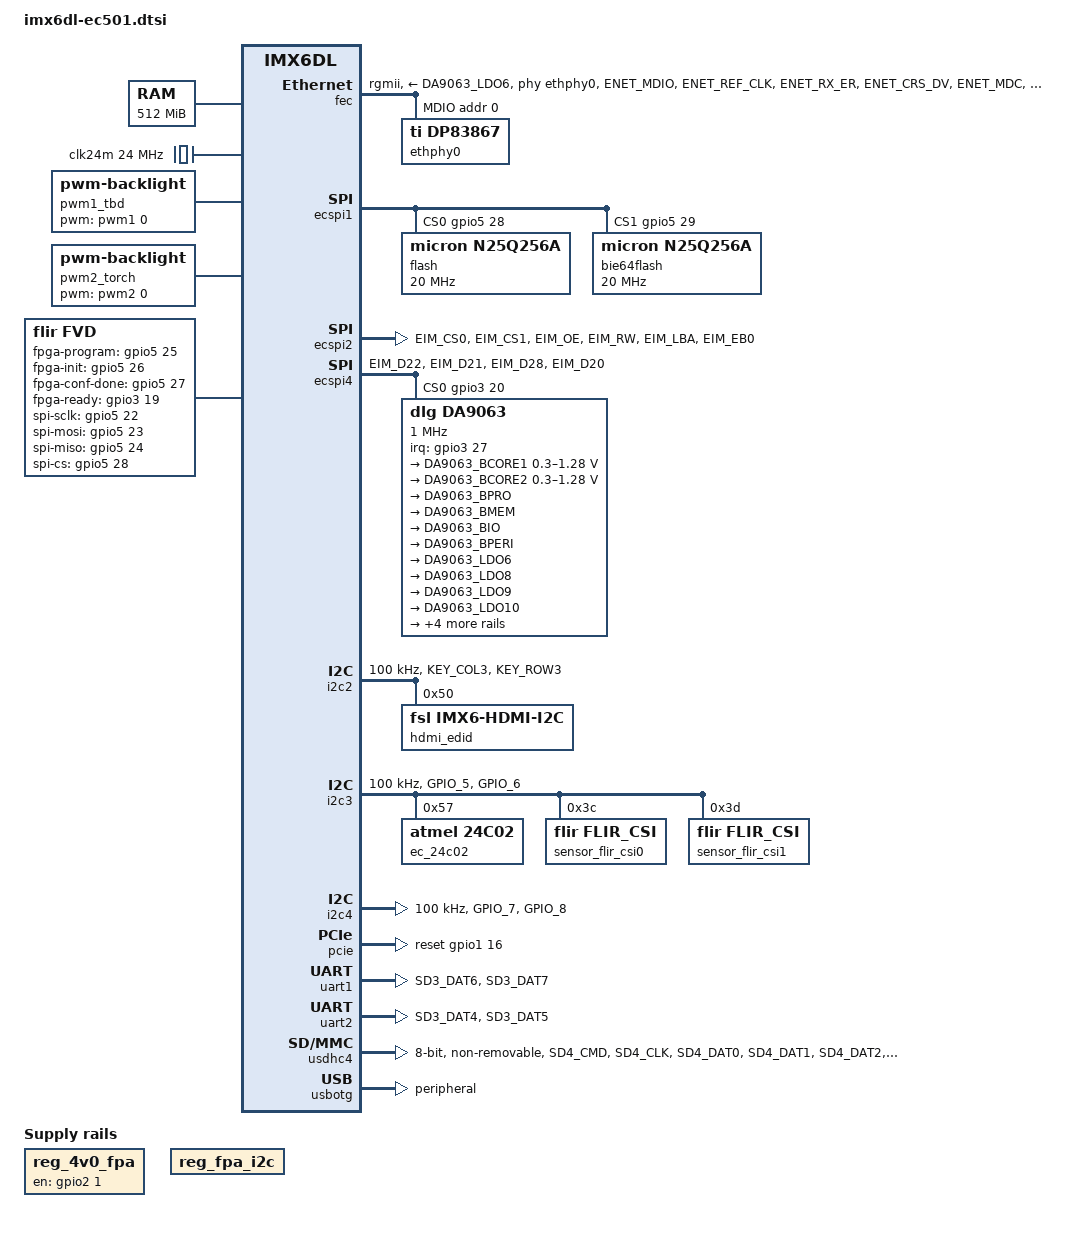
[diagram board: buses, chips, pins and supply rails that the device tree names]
/*
 * Copyright 2017 FLIR Systems.
 *
 * The code contained herein is licensed under the GNU General Public
 * License. You may obtain a copy of the GNU General Public License
 * Version 2 or later at the following locations:
 *
 * http://www.opensource.org/licenses/gpl-license.html
 * http://www.gnu.org/copyleft/gpl.html
 */

/*This file represents ec501-PA9 and later */
#include <dt-bindings/gpio/gpio.h>
#include <dt-bindings/net/ti-dp83867.h>

/ {
	aliases {
		mxcfb0 = &mxcfb1;
		mxcfb1 = &mxcfb2;
		i2c3 = &i2c4;

		/* FLIR - overwrite imx6qdl standard. Compatible with ROCO  */
		mmc0 = &usdhc4;
		mmc1 = &usdhc1;
		mmc2 = &usdhc2;
		mmc3 = &usdhc3;

		ethernet0 = &fec;
	};

	memory {
		reg = <0x10000000 0x20000000>;
	};

	clocks {
		clk24m: clk24m {
			compatible = "fixed-clock";
			#clock-cells = <0>;
			clock-frequency = <24000000>;
		};
	};

	regulators {
		compatible = "simple-bus";

		reg_4v0_fpa: reg_4v0_fpa {
			compatible = "regulator-fixed";
			regulator-name = "4V0_fpa";
			gpio = <&gpio2 1 0>;
			enable-active-high;
		};

		/*Removed on ec101-d but required by fvdk*/
		reg_fpa_i2c: reg_fpa_i2c {
			compatible = "regulator-fixed";
			regulator-name = "fpa_i2c";
			enable-active-high;
		};
	};

	fad {
		compatible = "flir,fad";
	};

	boards{
		mainboard{
			article = <0>;
			rev = <0>;
		};
	};

	u-boot{
		version = "Unkown";
		reset-cause = "Unkown";
	};

	mxcfb1: fb@0 {
		compatible = "fsl,mxc_sdc_fb";
		disp_dev = "hdmi";
		interface_pix_fmt = "RGB24";
		mode_str ="640x480M@60";
		default_bpp = <32>;
		int_clk = <0>;
		late_init = <0>;
		status = "okay";
	};

	mxcfb2: fb@1 {
		compatible = "fsl,mxc_sdc_fb";
		disp_dev = "fake";
		interface_pix_fmt = "RGB24";
		mode_str ="640x480M@60";
		default_bpp = <32>;
		int_clk = <0>;
		late_init = <0>;
		status = "okay";
	};

	pwm1_tbd {
		compatible = "pwm-backlight";
		pwms = <&pwm1 0 200000>; //0.2ms
		brightness-levels = <0 10 20 30 40 50 60 70 80 90 100>;
		pinctrl-names = "default";
		pinctrl-0 = <&pinctrl_pwm1>;
		default-brightness-level = <0>;
	};

	pwm2_torch {
		compatible = "pwm-backlight";
		pwms = <&pwm2 0 200000>; //0.2ms
		brightness-levels = <0 10 20 30 40 50 60 70 80 90 100>;
		pinctrl-names = "default";
		pinctrl-0 = <&pinctrl_pwm2>;
		default-brightness-level = <0>;
	};

	v4l2_cap_0 {
		compatible = "fsl,imx6q-v4l2-capture";
		ipu_id = <0>;
		csi_id = <0>;
		videoflow_method = <1>;
		mclk_source = <0>;
		status = "okay";
	};

	v4l2_cap_1 {
		compatible = "fsl,imx6q-v4l2-capture";
		ipu_id = <0>;
		csi_id = <1>;
		videoflow_method = <1>;
		mclk_source = <0>;
		status = "okay";
	};

	v4l2_out {
		compatible = "fsl,mxc_v4l2_output";
		status = "okay";
	};

	fvd {
		compatible = "flir,fvd";
		pinctrl-names = "default", "spi-default","spi-idle";
		pinctrl-0 = <&pinctrl_fvd>;
		pinctrl-1 = <&pinctrl_ecspi1>;
		pinctrl-2 = <&pinctrl_ecspi1_idle>;
		fpga-program-gpio	= <&gpio5 25 GPIO_ACTIVE_HIGH>;
		fpga-init-gpio		= <&gpio5 26 GPIO_ACTIVE_HIGH>;
		fpga-conf-done-gpio 	= <&gpio5 27 GPIO_ACTIVE_HIGH>;
		fpga-ready-gpio		= <&gpio3 19 GPIO_ACTIVE_HIGH>;
		spi-sclk-gpio		= <&gpio5 22 GPIO_ACTIVE_HIGH>;
		spi-mosi-gpio		= <&gpio5 23 GPIO_ACTIVE_HIGH>;
		spi-miso-gpio		= <&gpio5 24 GPIO_ACTIVE_HIGH>;
		spi-cs-gpio		= <&gpio5 28 GPIO_ACTIVE_HIGH>;
	};

	fake {
		compatible = "fsl,imx6q-fake";
		display = <&fakedisp>;
		ipu_id = <0>;
		disp_id = <2>;
		status = "okay";
	};
	
	fakedisp: fake-vga {
		display-timings {
			timing {
				clock-frequency = <40000000>;
				hactive = <640>;
				vactive = <480>;
				hfront-porch = <40>;
				hback-porch = <88>;
				hsync-len = <128>;
				vback-porch = <23>;
				vfront-porch = <1>;
				vsync-len = <40>;
			};
		};
	};
};


&fec {
	pinctrl-names = "default";
	pinctrl-0 = <&pinctrl_enet>;
	phy-mode = "rgmii";
	phy-reset-gpios = <&gpio1 25 GPIO_ACTIVE_LOW>;
	phy-supply = <&DA9063_LDO6>;
	phy-handle = <&ethphy0>;
	status = "okay";

	mdio {
		#address-cells = <1>;
		#size-cells = <0>;

		ethphy0: ethernet-phy@0 {
			status = "ok";
			reg = <0>;
			compatible = "ti,dp83867","ethernet-phy-ieee802.3-c22";
//?			interrupt-parent = <&gpio1>;
//?			interrupts = <24 IRQ_TYPE_LEVEL_LOW>;
			ti,rx-internal-delay = <DP83867_RGMIIDCTL_2_25_NS>;
			ti,tx-internal-delay = <DP83867_RGMIIDCTL_2_75_NS>;
			ti,fifo-depth = <DP83867_PHYCR_FIFO_DEPTH_4_B_NIB>;
//?opt			ti,min-output-impedance;
//?opt			ti,max-output-impedance;
		};
	};
};

/* Serial flash SPI */
&ecspi1 {
	status = "okay";
	fsl,spi-num-chipselects = <2>;
	cs-gpios = <&gpio5 28 0>, <&gpio5 29 0>;

	/* FPGA program flash */
	flash: m25p80@0 {
		compatible = "micron,n25q256a";
		spi-max-frequency = <20000000>;
		reg = <0>;
	};

	/* Detector flash */
	bie64flash: bie64flash@1 {
		compatible = "micron,n25q256a";
		spi-max-frequency = <20000000>;
		reg = <1>;
	};
};

/* IO board SPI */
&ecspi2 {
	pinctrl-names = "default";
	pinctrl-0 = <&pinctrl_ecspi2>;
	status = "okay";
	fsl,spi-num-chipselects = <3>;
	cs-gpios = <&gpio2 26 0>, <&gpio2 27 0>, <&gpio2 28 0>;
};

/* PMIC SPI */
&ecspi4 {
	pinctrl-names = "default";
	pinctrl-0 = <&pinctrl_ecspi4>;
	status = "okay";
	fsl,spi-num-chipselects = <1>;
	cs-gpios = <&gpio3 20 0>;

	da9063: da9063@0 {
		compatible = "dlg,da9063";
		reg = <0>;
		spi-max-frequency = <1000000>;
		interrupt-parent = <&gpio3>;
		interrupts = <27 2>;
		interrupt-controller;
		#interrupt-cells = <1>;
		pinctrl-names = "default";
		pinctrl-0 = <&pinctrl_da9063>;

		poweroff {
			compatible = "dlg,da9063-poweroff";
		};

		rtc {
			compatible = "dlg,da9063-rtc";
			interrupts = <1 2>;
			interrupts-names = "ALARM" , "TIMER";
			interrupt-parent = <&da9063>;
		};

		onkey {
			compatible = "dlg,da9063-onkey";
			interrupts = <0>;
			interrupts-names = "ONKEY";
			interrupt-parent = <&da9063>;
			dlg,key-power;
			gpio-key,wakeup;
			linux,code = <66>;
		};

		hwmon {
			compatible = "dlg,da9063-hwmon";
			interrupts = <3>;
			interrupts-names = "HWMON";
			interrupt-parent = <&da9063>;
			dlg,tjunc-offset = <(-5)>;
		};

		gpio_extender: gpio {
			compatible = "dlg,da9063-gpio";
			gpio-controller;
			#gpio-cells = <2>;
		};

		reset{
			compatible = "dlg,da9063-reset";
		};


		/* For DA9063 revision PA9 */
		regulators {
			compatible = "dlg,da9063-regulator";
			/*dlg,bcores_merged;*/
			/*dlg,bmem_bio_merged;*/
			interrupts = <8>;
			interrupts-names = "LDO_LIM";
			interrupt-parent = <&da9063>;

			/* VCCARM */
			DA9063_BCORE1:bcore1  {
				regulator-name = "DA9063_BCORE1";
				regulator-boot-on;
				regulator-always-on;
				regulator-min-microvolt = <300000>;
				regulator-max-microvolt = <1280000>;

				regulator-initial-mode = "normal";
				regulator-initial-state = "suspend-mem";
				regulator-valid-modes-mask {
					normal-mode;
				};
				regulator-state-mem {
					regulator-state-mode = "normal";
					regulator-state-uv= <950000>;
					regulator-state-disabled;
				};
			};

			/* VCCSOC */
			DA9063_BCORE2:bcore2  {
				regulator-name = "DA9063_BCORE2";
				regulator-boot-on;
				regulator-always-on;
				regulator-min-microvolt = <300000>;
				regulator-max-microvolt = <1280000>;

				regulator-initial-mode = "normal";
				regulator-initial-state = "suspend-mem";
				regulator-valid-modes-mask {
					normal-mode;
				};
				regulator-state-mem {
					regulator-state-mode = "normal";
					regulator-state-uv= <950000>;
					regulator-state-disabled;
				};
			};

			/* 1V0A_ETH */
			DA9063_BPRO:bpro  {
				regulator-name = "DA9063_BPRO";
				regulator-boot-on;
			};

			/* 1V1D_FPGA */
			DA9063_BMEM:bmem  {
				regulator-name = "DA9063_BMEM";
				regulator-boot-on;
			};

			/* 1V8D */
			DA9063_BIO:bio  {
				regulator-name = "DA9063_BIO";
				regulator-boot-on;
				regulator-always-on;
			};

			/* 1V2D */
			DA9063_BPERI:bperi  {
				regulator-name = "DA9063_BPERI";
				regulator-boot-on;
				regulator-always-on;
			};

			/* 2V5A_ETH */
			DA9063_LDO6:ldo6  {
				regulator-name = "DA9063_LDO6";
			};

			/* 3V15D_FPGA */
			DA9063_LDO8:ldo8  {
				regulator-name = "DA9063_LDO8";
				regulator-boot-on;
			};

			/* VCCSNVS */
			DA9063_LDO9:ldo9  {
				regulator-name = "DA9063_LDO9";
				regulator-boot-on;
				regulator-always-on;
			};

			/* 2V5D_FPGA */
			DA9063_LDO10:ldo10  {
				regulator-name = "DA9063_LDO10";
				regulator-boot-on;
			};

			/* 3V15D */
			DA9063_LDO11:ldo11  {
				regulator-name = "DA9063_LDO11";
				regulator-boot-on;
				regulator-always-on;
			};

			/* 1V8D_FPGA */
			DA9063_CORE_SW:core-sw  {
				regulator-name = "DA9063_CORE_SW";
				regulator-boot-on;
			};

			/* 1V2D_FPGA */
			DA9063_PERI_SW:peri-sw  {
				regulator-name = "DA9063_PERI_SW";
				regulator-boot-on;
			};

			/* CLK32k768 */
			DA9063_32K_OUT:out_32k  {
				regulator-name = "DA9063_32K_OUT";
			};
		};
	};
};

/* HDMI I2C */
&i2c2 {
	clock-frequency = <100000>;
	pinctrl-names = "default";
	pinctrl-0 = <&pinctrl_i2c2>;
	status = "okay";
	
	hdmi_edid: edid@50 {
		compatible = "fsl,imx6-hdmi-i2c";
		reg = <0x50>;
	};
};

/* Misc I2C */
&i2c3 {
	clock-frequency = <100000>;
	pinctrl-names = "default";
	pinctrl-0 = <&pinctrl_i2c3>;
	status = "okay";

	/* ID EEPROM */
	ec_24c02: ec_24c02@57 {
		compatible = "atmel,24c02";
		reg = <0x57>;
		pagesize = <16>;
	};

	/* FPGA CSI0 */
	sensor_flir_csi0: csi0@3c {
		compatible = "flir,flir_csi";
		reg = <0x3c>;
		pinctrl-names = "default";
		pinctrl-0 = <&pinctrl_ipu_csi0>;
		clocks = <&clks 201>;
		clock-names = "csi_mclk";
		ipu_id = <0>;
		csi_id = <0>;
		mclk = <24000000>;
		mclk_source = <0>;
		capturemode = <0>;
		format = "RGB4";
		status = "okay";
	};

	/* FPGA CSI1 */
	sensor_flir_csi1: csi1@3d {
		compatible = "flir,flir_csi";
		reg = <0x3d>;
		pinctrl-names = "default";
		pinctrl-0 = <&pinctrl_ipu_csi1>;
		clocks = <&clks 201>;
		clock-names = "csi_mclk";
		ipu_id = <0>;
		csi_id = <1>;
		mclk = <24000000>;
		mclk_source = <0>;
		capturemode = <5>;
		format = "UYVY";
		status = "okay";
	};
};

/* XXX I2C */
&i2c4 {
	clock-frequency = <100000>;
	pinctrl-names = "default";
	pinctrl-0 = <&pinctrl_i2c4>;
	status = "okay";
};

&iomuxc {

	imx6dl-ec {

		pinctrl_pwm1: pwm1 {
			fsl,pins = <
				MX6QDL_PAD_GPIO_9__PWM1_OUT		0x80000000
			>;
		};

		pinctrl_pwm2: pwm2 {
			fsl,pins = <
				MX6QDL_PAD_GPIO_1__PWM2_OUT		0x80000000
			>;
		};

		pinctrl_enet: enetgrp {
			fsl,pins = <
				MX6QDL_PAD_ENET_MDIO__ENET_MDIO		0x1b0b0
				MX6QDL_PAD_ENET_REF_CLK__ENET_TX_CLK	0x1b0b0
				MX6QDL_PAD_ENET_RX_ER__GPIO1_IO24	0x1b0b0
				MX6QDL_PAD_ENET_CRS_DV__GPIO1_IO25	0x1b0b0
				MX6QDL_PAD_ENET_MDC__ENET_MDC		0x1b0b0
				MX6QDL_PAD_RGMII_TXC__RGMII_TXC		0x1b0b0
				MX6QDL_PAD_RGMII_TD0__RGMII_TD0		0x1b0b0
				MX6QDL_PAD_RGMII_TD1__RGMII_TD1		0x1b0b0
				MX6QDL_PAD_RGMII_TD2__RGMII_TD2		0x1b0b0
				MX6QDL_PAD_RGMII_TD3__RGMII_TD3		0x1b0b0
				MX6QDL_PAD_RGMII_RX_CTL__RGMII_RX_CTL	0x1b0b0
				MX6QDL_PAD_RGMII_RD0__RGMII_RD0		0x1b0b0
				MX6QDL_PAD_RGMII_TX_CTL__RGMII_TX_CTL	0x1b0b0
				MX6QDL_PAD_RGMII_RD1__RGMII_RD1		0x1b0b0
				MX6QDL_PAD_RGMII_RD2__RGMII_RD2		0x1b0b0
				MX6QDL_PAD_RGMII_RD3__RGMII_RD3		0x1b0b0
				MX6QDL_PAD_RGMII_RXC__RGMII_RXC		0x1b0b0
			>;
		};

		pinctrl_ecspi1: ecspi1grp {
			fsl,pins = <
				MX6QDL_PAD_CSI0_DAT4__ECSPI1_SCLK 0x100b1
				MX6QDL_PAD_CSI0_DAT5__ECSPI1_MOSI 0x100b1
				MX6QDL_PAD_CSI0_DAT6__ECSPI1_MISO 0x100b1
				MX6QDL_PAD_CSI0_DAT10__GPIO5_IO28 0x1b0b1
				MX6QDL_PAD_CSI0_DAT11__GPIO5_IO29 0x1b0b1
			>;
		};

		pinctrl_ecspi1_idle: ecspi1grp-idle {
			fsl,pins = <
				MX6QDL_PAD_CSI0_DAT4__GPIO5_IO22	0x100b1
				MX6QDL_PAD_CSI0_DAT5__GPIO5_IO23	0x100b1
				MX6QDL_PAD_CSI0_DAT6__GPIO5_IO24	0x100b1
				>;
		};

		pinctrl_ecspi2: ecspi2grp {
			fsl,pins = <
				MX6QDL_PAD_EIM_CS0__ECSPI2_SCLK	0x100b1
				MX6QDL_PAD_EIM_CS1__ECSPI2_MOSI	0x100b1
				MX6QDL_PAD_EIM_OE__ECSPI2_MISO	0x100b1
				MX6QDL_PAD_EIM_RW__GPIO2_IO26	0x1b0b1
				MX6QDL_PAD_EIM_LBA__GPIO2_IO27	0x1b0b1
				MX6QDL_PAD_EIM_EB0__GPIO2_IO28	0x1b0b1
			>;
		};

		pinctrl_ecspi4: ecspi4grp {
			fsl,pins = <
				MX6QDL_PAD_EIM_D22__ECSPI4_MISO 0x100b1
				MX6QDL_PAD_EIM_D21__ECSPI4_SCLK 0x100b1
				MX6QDL_PAD_EIM_D28__ECSPI4_MOSI 0x100b1
				MX6QDL_PAD_EIM_D20__GPIO3_IO20	0x1b0b1
			>;
		};

		pinctrl_i2c2: i2c2grp {
			fsl,pins = <
				MX6QDL_PAD_KEY_COL3__I2C2_SCL	0x4001b8b1
				MX6QDL_PAD_KEY_ROW3__I2C2_SDA	0x4001b8b1
			>;
		};

		pinctrl_i2c3: i2c3grp {
			fsl,pins = <
				MX6QDL_PAD_GPIO_5__I2C3_SCL  0x4001b8b1
				MX6QDL_PAD_GPIO_6__I2C3_SDA  0x4001b8b1
			>;
		};

		pinctrl_i2c4: i2c4grp {
			fsl,pins = <
				MX6QDL_PAD_GPIO_7__I2C4_SCL  0x4001b8b1
				MX6QDL_PAD_GPIO_8__I2C4_SDA  0x4001b8b1
			>;
		};

		pinctrl_uart1: uart1grp {
			fsl,pins = <
				MX6QDL_PAD_SD3_DAT6__UART1_RX_DATA 0x1b0b1
				MX6QDL_PAD_SD3_DAT7__UART1_TX_DATA 0x1b0b1
			>;
		};

		pinctrl_uart2: uart2grp {
			fsl,pins = <
				MX6QDL_PAD_SD3_DAT4__UART2_RX_DATA   0x1b0b1
				MX6QDL_PAD_SD3_DAT5__UART2_TX_DATA   0x1b0b1
			>;
		};

		pinctrl_usdhc4: usdhc4grp {
			fsl,pins = <
				MX6QDL_PAD_SD4_CMD__SD4_CMD	0x170B9
				MX6QDL_PAD_SD4_CLK__SD4_CLK	0x100B9
				MX6QDL_PAD_SD4_DAT0__SD4_DATA0 0x170B9
				MX6QDL_PAD_SD4_DAT1__SD4_DATA1 0x170B9
				MX6QDL_PAD_SD4_DAT2__SD4_DATA2 0x170B9
				MX6QDL_PAD_SD4_DAT3__SD4_DATA3 0x170B9
				MX6QDL_PAD_SD4_DAT4__SD4_DATA4 0x170B9
				MX6QDL_PAD_SD4_DAT5__SD4_DATA5 0x170B9
				MX6QDL_PAD_SD4_DAT6__SD4_DATA6 0x170B9
				MX6QDL_PAD_SD4_DAT7__SD4_DATA7 0x170B9
			>;
		};

		pinctrl_da9063: da9063grp {
			fsl,pins = <
				MX6QDL_PAD_EIM_D27__GPIO3_IO27 0x1b0b0
			>;
		};

		pinctrl_ipu_csi0: ipucsi0grp { /* parallel camera - LCD image */
			fsl,pins = <
				MX6QDL_PAD_CSI0_DAT12__IPU1_CSI0_DATA12		0x80000000
				MX6QDL_PAD_CSI0_DAT13__IPU1_CSI0_DATA13		0x80000000
				MX6QDL_PAD_CSI0_DAT14__IPU1_CSI0_DATA14		0x80000000
				MX6QDL_PAD_CSI0_DAT15__IPU1_CSI0_DATA15		0x80000000
				MX6QDL_PAD_CSI0_DAT16__IPU1_CSI0_DATA16		0x80000000
				MX6QDL_PAD_CSI0_DAT17__IPU1_CSI0_DATA17		0x80000000
				MX6QDL_PAD_CSI0_DAT18__IPU1_CSI0_DATA18		0x80000000
				MX6QDL_PAD_CSI0_DAT19__IPU1_CSI0_DATA19		0x80000000
				MX6QDL_PAD_CSI0_PIXCLK__IPU1_CSI0_PIXCLK	0x0000a0b0
				MX6QDL_PAD_CSI0_MCLK__IPU1_CSI0_HSYNC		0x80000000
				MX6QDL_PAD_CSI0_VSYNC__IPU1_CSI0_VSYNC		0x80000000
				MX6QDL_PAD_CSI0_DATA_EN__IPU1_CSI0_DATA_EN	0x80000000
				>;
		};
	
		pinctrl_ipu_csi1: ipucsi1grp { /* parallel camera - visual */
			fsl,pins = <
				MX6QDL_PAD_EIM_A17__IPU1_CSI1_DATA12	0x80000000
				MX6QDL_PAD_EIM_A18__IPU1_CSI1_DATA13	0x80000000
				MX6QDL_PAD_EIM_A19__IPU1_CSI1_DATA14	0x80000000
				MX6QDL_PAD_EIM_A20__IPU1_CSI1_DATA15	0x80000000
				MX6QDL_PAD_EIM_A21__IPU1_CSI1_DATA16	0x80000000
				MX6QDL_PAD_EIM_A22__IPU1_CSI1_DATA17	0x80000000
				MX6QDL_PAD_EIM_A23__IPU1_CSI1_DATA18	0x80000000
				MX6QDL_PAD_EIM_A24__IPU1_CSI1_DATA19	0x80000000
				MX6QDL_PAD_EIM_A16__IPU1_CSI1_PIXCLK	0x0000a0b0
				MX6QDL_PAD_EIM_EB3__IPU1_CSI1_HSYNC	0x80000000
				MX6QDL_PAD_EIM_D29__IPU1_CSI1_VSYNC	0x80000000
				MX6QDL_PAD_EIM_D23__IPU1_CSI1_DATA_EN	0x80000000
				>;
		};

		pinctrl_digio: digiogrp {
			fsl,pins = <
				MX6QDL_PAD_KEY_COL0__GPIO4_IO06	0x13000  //in
				MX6QDL_PAD_KEY_COL1__GPIO4_IO08	0x13000
				MX6QDL_PAD_EIM_DA14__GPIO3_IO14	0x10010  //out
				MX6QDL_PAD_EIM_DA15__GPIO3_IO15	0x10010
			>;
                };

		pinctrl_fvd: fvdgrp {
			fsl,pins = <
				MX6QDL_PAD_EIM_D16__GPIO3_IO16  0x10010
				MX6QDL_PAD_EIM_D17__GPIO3_IO17  0x10010
				MX6QDL_PAD_EIM_D18__GPIO3_IO18  0x10010
				MX6QDL_PAD_EIM_D19__GPIO3_IO19  0x10010
			>;
		};
	};
};

/* PCIe FPGA */
&pcie {
	status = "okay";
	reset-gpio = <&gpio1 16 0>;
};

/*Active serial port*/
&uart1 {
	pinctrl-names = "default";
	pinctrl-0 = <&pinctrl_uart1>;
	status = "okay";
};

/*Secondary serial port*/
&uart2 {
	pinctrl-names = "default";
	pinctrl-0 = <&pinctrl_uart2>;
	status = "okay";
};


/*eMMC*/
&usdhc4 {
	pinctrl-names = "default";
	pinctrl-0 = <&pinctrl_usdhc4>;
	bus-width = <8>;
	non-removable;
	no-1-8-v;
	status = "okay";
};

/* USB */
&usbotg {
	pinctrl-names = "default";
	disable-over-current;
	status = "okay";
//	dr_mode = "host";
	dr_mode = "peripheral";
//	dr_mode = "otg";
};

&gpc {
	fsl,ldo-bypass = <1>;
};

&cpu0{
	arm-supply = <&DA9063_BCORE1>;
	soc-supply = <&DA9063_BCORE2>;
	operating-points = <
		/* kHz	 uV */
		996000 1280000
		768000 1180000
		420000 1150000
	>;
	fsl,soc-operating-points = <
		/* ARM kHz SOC-PU uV */
		996000 1200000
		768000 1200000
		420000 1200000
	>;
};

&cpu1 {
	device_type = "unused";
	status = "disabled";
};

// OCRAM usage improvements
&vpu {
	iramsize = <0x10000>;
};

&sdma {
	iram = <&ocram>;
};

&vdoa {
	status = "disabled";
};

&ipu1 {
	bypass_reset = <1>;
	// IOMUX_GPR6: ID0 = F (real time), ID1 = 4 (high prio), ID2 = 2 (normal prio) 
	axi-id = <&gpr 0x18 0x024F024F>;	
};
